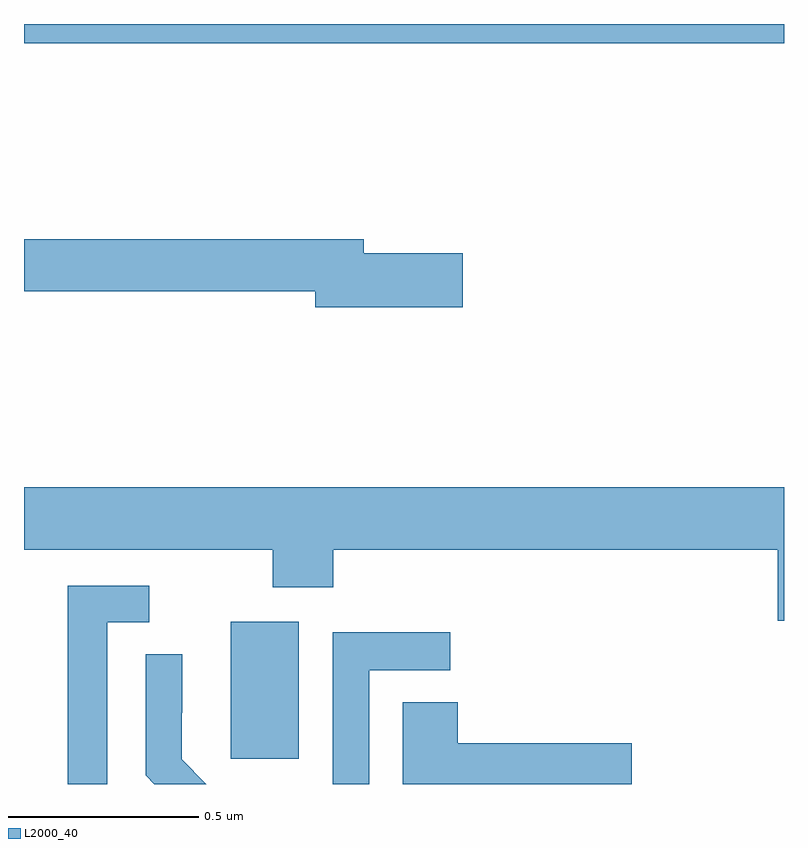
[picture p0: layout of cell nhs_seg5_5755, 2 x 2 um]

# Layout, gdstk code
import gdstk
lib = gdstk.Library(unit=1e-6, precision=1e-09)
def R(c, l, rs):  # rectangles x0, y0, x1, y1
    for r in rs: c.add(gdstk.rectangle(r[:2], r[2:], *l))
def P(c, l, *ps):  # polygons
    for p in ps: c.add(gdstk.Polygon(p, *l))
L2000_40 = (2000, 40)

nhs_seg5_5755 = lib.new_cell('nhs_seg5_5755')
R(nhs_seg5_5755, L2000_40, [(187.544,866.865,187.723,867.226), (187,868.748,189,868.799)])
P(nhs_seg5_5755, L2000_40, [(188.155,868.196),(187.894,868.196),(187.894,868.232),(187,868.232),(187,868.096),(187.766,868.096),(187.766,868.054),(188.155,868.054)],
  [(189,867.58),(187,867.58),(187,867.416),(187.654,867.416),(187.654,867.317),(187.814,867.317),(187.814,867.416),(188.984,867.416),(188.984,867.228),(189,867.228)],
  [(187.219,867.225),(187.33,867.225),(187.33,867.321),(187.115,867.321),(187.115,866.799),(187.219,866.799)],
  [(187.908,867.099),(188.122,867.099),(188.122,867.198),(187.812,867.198),(187.812,866.799),(187.908,866.799)],
  [(187.415,866.864),(187.415,866.986),(187.416,866.986),(187.416,867.14),(187.32,867.14),(187.32,866.822),(187.343,866.799),(187.479,866.799)],
  [(188.599,866.906),(188.141,866.906),(188.141,867.014),(187.997,867.014),(187.997,866.799),(188.599,866.799)])

lib.write_gds('nhs_seg5_5755.gds')
